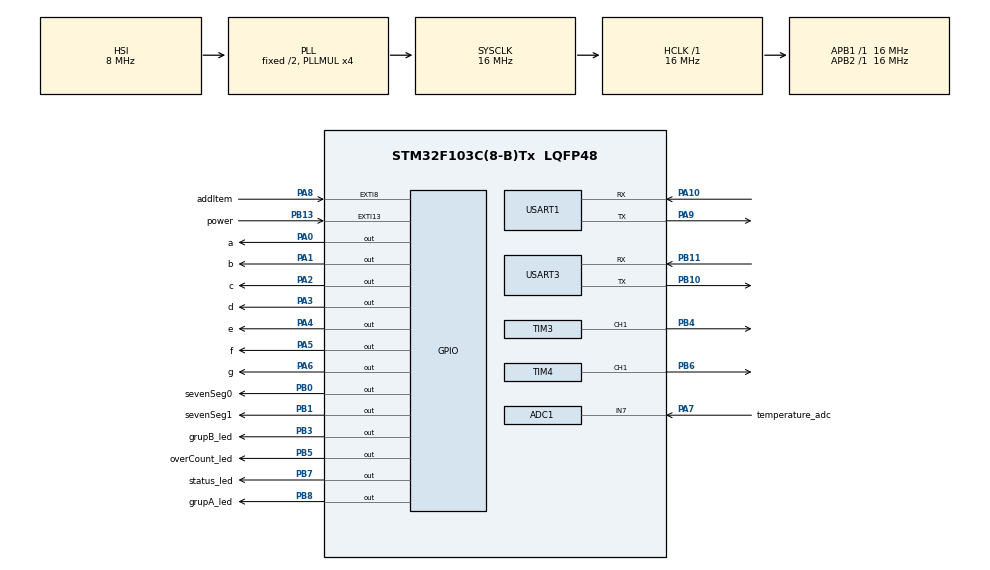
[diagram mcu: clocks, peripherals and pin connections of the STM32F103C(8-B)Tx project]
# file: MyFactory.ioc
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ADC1.Channel-0\#ChannelRegularConversion=ADC_CHANNEL_7
ADC1.ContinuousConvMode=DISABLE
ADC1.DataAlign=ADC_DATAALIGN_RIGHT
ADC1.DiscontinuousConvMode=DISABLE
ADC1.EnableAnalogWatchDog=false
ADC1.EnableRegularConversion=ENABLE
ADC1.ExternalTrigConv=ADC_SOFTWARE_START
ADC1.InjNumberOfConversion=0
ADC1.NbrOfConversion=1
ADC1.NbrOfConversionFlag=1
ADC1.Rank-0\#ChannelRegularConversion=1
ADC1.SamplingTime-0\#ChannelRegularConversion=ADC_SAMPLETIME_1CYCLE_5
ADC1.ScanConvMode=ADC_SCAN_DISABLE
ADC1.master=1
Mcu.Family=STM32F1
Mcu.Name=STM32F103C(8-B)Tx
Mcu.Package=LQFP48
NVIC.EXTI15_10_IRQn=true\:0\:0\:false\:false\:true\:true
NVIC.EXTI9_5_IRQn=true\:0\:0\:false\:false\:true\:true
NVIC.PriorityGroup=NVIC_PRIORITYGROUP_4
NVIC.TIM3_IRQn=true\:0\:0\:false\:false\:true\:true
NVIC.TIM4_IRQn=true\:0\:0\:false\:false\:true\:true
NVIC.USART1_IRQn=true\:0\:0\:false\:false\:true\:true
NVIC.USART3_IRQn=true\:0\:0\:false\:false\:true\:true
PA0-WKUP.GPIO_Label=a
PA0-WKUP.Signal=GPIO_Output
PA1.GPIO_Label=b
PA1.Signal=GPIO_Output
PA10.Mode=Asynchronous
PA10.Signal=USART1_RX
PA13.Mode=Serial_Wire
PA13.Signal=SYS_JTMS-SWDIO
PA14.Mode=Serial_Wire
PA14.Signal=SYS_JTCK-SWCLK
PA2.GPIO_Label=c
PA2.Signal=GPIO_Output
PA3.GPIO_Label=d
PA3.Signal=GPIO_Output
PA4.GPIO_Label=e
PA4.Signal=GPIO_Output
PA5.GPIO_Label=f
PA5.Signal=GPIO_Output
PA6.GPIO_Label=g
PA6.Signal=GPIO_Output
PA7.GPIO_Label=temperature_adc
PA7.Signal=ADCx_IN7
PA8.GPIO_Label=addItem
PA8.Signal=GPXTI8
PA9.Mode=Asynchronous
PA9.Signal=USART1_TX
PB0.GPIO_Label=sevenSeg0
PB0.Signal=GPIO_Output
PB1.GPIO_Label=sevenSeg1
PB1.Signal=GPIO_Output
PB10.Mode=Asynchronous
PB10.Signal=USART3_TX
PB11.Mode=Asynchronous
PB11.Signal=USART3_RX
PB13.GPIO_Label=power
PB13.Signal=GPXTI13
PB3.GPIO_Label=grupB_led
PB3.Signal=GPIO_Output
PB4.Signal=S_TIM3_CH1
PB5.GPIO_Label=overCount_led
PB5.Signal=GPIO_Output
PB6.Signal=S_TIM4_CH1
PB7.GPIO_Label=status_led
PB7.Signal=GPIO_Output
PB8.GPIO_Label=grupA_led
PB8.Signal=GPIO_Output
PD0-OSC_IN.Mode=HSE-External-Oscillator
PD0-OSC_IN.Signal=RCC_OSC_IN
PD1-OSC_OUT.Mode=HSE-External-Oscillator
PD1-OSC_OUT.Signal=RCC_OSC_OUT
ProjectManager.HeapSize=0x200
ProjectManager.StackSize=0x400
ProjectManager.TargetToolchain=MDK-ARM V5
RCC.AHBFreq_Value=16000000
RCC.APB1Freq_Value=16000000
RCC.APB1TimFreq_Value=16000000
RCC.APB2Freq_Value=16000000
RCC.APB2TimFreq_Value=16000000
RCC.HCLKFreq_Value=16000000
RCC.PLLMUL=RCC_PLL_MUL4
RCC.SYSCLKFreq_VALUE=16000000
RCC.SYSCLKSource=RCC_SYSCLKSOURCE_PLLCLK
RCC.USBFreq_Value=16000000
SH.ADCx_IN7.0=ADC1_IN7,IN7
SH.S_TIM3_CH1.0=TIM3_CH1,PWM Generation1 CH1
SH.S_TIM4_CH1.0=TIM4_CH1,PWM Generation1 CH1
TIM3.Channel-PWM\ Generation1\ CH1=TIM_CHANNEL_1
TIM3.Period=9999
TIM3.Prescaler=799
TIM4.Channel-PWM\ Generation1\ CH1=TIM_CHANNEL_1
TIM4.Period=9999
TIM4.Prescaler=7999
USART1.VirtualMode=VM_ASYNC
USART3.VirtualMode=VM_ASYNC
VP_TIM3_VS_ClockSourceINT.Mode=Internal
VP_TIM4_VS_ClockSourceINT.Mode=Internal
board=MyFabric

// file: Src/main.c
/**
  ******************************************************************************
  * File Name          : main.c
  * Description        : Main program body
  ******************************************************************************
  ** This notice applies to any and all portions of this file
  * that are not between comment pairs USER CODE BEGIN and
  * USER CODE END. Other portions of this file, whether
  * inserted by the user or by software development tools
  * are owned by their respective copyright owners.
  *
  * COPYRIGHT(c) 2020 STMicroelectronics
  *
  * Redistribution and use in source and binary forms, with or without modification,
  * are permitted provided that the following conditions are met:
  *   1. Redistributions of source code must retain the above copyright notice,
  *      this list of conditions and the following disclaimer.
  *   2. Redistributions in binary form must reproduce the above copyright notice,
  *      this list of conditions and the following disclaimer in the documentation
  *      and/or other materials provided with the distribution.
  *   3. Neither the name of STMicroelectronics nor the names of its contributors
  *      may be used to endorse or promote products derived from this software
  *      without specific prior written permission.
  *
  * THIS SOFTWARE IS PROVIDED BY THE COPYRIGHT HOLDERS AND CONTRIBUTORS "AS IS"
  * AND ANY EXPRESS OR IMPLIED WARRANTIES, INCLUDING, BUT NOT LIMITED TO, THE
  * IMPLIED WARRANTIES OF MERCHANTABILITY AND FITNESS FOR A PARTICULAR PURPOSE ARE
  * DISCLAIMED. IN NO EVENT SHALL THE COPYRIGHT HOLDER OR CONTRIBUTORS BE LIABLE
  * FOR ANY DIRECT, INDIRECT, INCIDENTAL, SPECIAL, EXEMPLARY, OR CONSEQUENTIAL
  * DAMAGES (INCLUDING, BUT NOT LIMITED TO, PROCUREMENT OF SUBSTITUTE GOODS OR
  * SERVICES; LOSS OF USE, DATA, OR PROFITS; OR BUSINESS INTERRUPTION) HOWEVER
  * CAUSED AND ON ANY THEORY OF LIABILITY, WHETHER IN CONTRACT, STRICT LIABILITY,
  * OR TORT (INCLUDING NEGLIGENCE OR OTHERWISE) ARISING IN ANY WAY OUT OF THE USE
  * OF THIS SOFTWARE, EVEN IF ADVISED OF THE POSSIBILITY OF SUCH DAMAGE.
  *
  ******************************************************************************
  */

#include "main.h"
#include "stm32f1xx_hal.h"

ADC_HandleTypeDef hadc1;

TIM_HandleTypeDef htim3;
TIM_HandleTypeDef htim4;

UART_HandleTypeDef huart1;
UART_HandleTypeDef huart3;

/* USER CODE BEGIN PV */
/* Private variables ---------------------------------------------------------*/

/* USER CODE END PV */

void SystemClock_Config(void);
static void MX_GPIO_Init(void);
static void MX_ADC1_Init(void);
static void MX_USART1_UART_Init(void);
static void MX_USART3_UART_Init(void);
static void MX_TIM3_Init(void);
static void MX_TIM4_Init(void);

void HAL_TIM_MspPostInit(TIM_HandleTypeDef *htim);

/* USER CODE BEGIN PFP */
/* Private function prototypes -----------------------------------------------*/
uint8_t convertADC(uint16_t adcValue, uint8_t from_resolution, uint8_t to_resolution);
void display(int s);
void display2D(int s); // 2 digit
void clear(uint8_t* array);
void formatString(uint8_t* array, uint16_t grup1, uint16_t gup2);
void numberToChars(uint8_t* array, uint16_t fromIndex, uint16_t num);
uint16_t length(uint8_t* str);
/* USER CODE END PFP */

/* USER CODE BEGIN 0 */
uint8_t isActive = 0;
uint16_t temperature;
uint16_t grupA = 0;          // hot
uint16_t grupB = 0;					// cold
uint16_t total = 0;
uint16_t additionTime = 0;
/* USER CODE END 0 */

int main(void)
{

  /* MCU Configuration----------------------------------------------------------*/

  /* Reset of all peripherals, Initializes the Flash interface and the Systick. */
  HAL_Init();

  /* Configure the system clock */
  SystemClock_Config();

  /* Initialize all configured peripherals */
  MX_GPIO_Init();
  MX_ADC1_Init();
  MX_USART1_UART_Init();
  MX_USART3_UART_Init();
  MX_TIM3_Init();
  MX_TIM4_Init();

  /* USER CODE BEGIN 2 */
	HAL_TIM_Base_Start_IT(&htim3);
	HAL_TIM_Base_Start_IT(&htim4);

	__HAL_UART_ENABLE_IT(&huart1, UART_IT_RXNE);
	__HAL_UART_ENABLE_IT(&huart3, UART_IT_RXNE);

	HAL_ADC_Start(&hadc1);
  /* USER CODE END 2 */

  /* Infinite loop */
  /* USER CODE BEGIN WHILE */

  while (1)
  {
		// fabrikanin acilip acilmadigina bakar
		if(isActive){
			HAL_GPIO_WritePin(status_led_GPIO_Port, status_led_Pin, GPIO_PIN_SET);
			// toplam urun sayisi kontrol edilir
			display2D(total % 100);

			if(total > 199){
				HAL_GPIO_TogglePin(overCount_led_GPIO_Port, overCount_led_Pin);
				HAL_Delay(50);
			} else if(total > 99){
				HAL_GPIO_WritePin(overCount_led_GPIO_Port, overCount_led_Pin, GPIO_PIN_SET);
			}

		} else {
			HAL_GPIO_WritePin(status_led_GPIO_Port, status_led_Pin, GPIO_PIN_RESET);
			HAL_GPIO_WritePin(grupA_led_GPIO_Port, grupA_led_Pin, GPIO_PIN_RESET);
			HAL_GPIO_WritePin(grupB_led_GPIO_Port, grupB_led_Pin, GPIO_PIN_RESET);
			HAL_GPIO_WritePin(overCount_led_GPIO_Port, overCount_led_Pin, GPIO_PIN_RESET);
			HAL_GPIO_WritePin(sevenSeg0_GPIO_Port, sevenSeg0_Pin, GPIO_PIN_RESET);
			HAL_GPIO_WritePin(sevenSeg1_GPIO_Port, sevenSeg1_Pin, GPIO_PIN_RESET);
		}

  /* USER CODE END WHILE */

  }

}

/** System Clock Configuration
*/
void SystemClock_Config(void)
{

  RCC_OscInitTypeDef RCC_OscInitStruct;
  RCC_ClkInitTypeDef RCC_ClkInitStruct;
  RCC_PeriphCLKInitTypeDef PeriphClkInit;

    /**Initializes the CPU, AHB and APB busses clocks
    */
  RCC_OscInitStruct.OscillatorType = RCC_OSCILLATORTYPE_HSI;
  RCC_OscInitStruct.HSIState = RCC_HSI_ON;
  RCC_OscInitStruct.HSICalibrationValue = 16;
  RCC_OscInitStruct.PLL.PLLState = RCC_PLL_ON;
  RCC_OscInitStruct.PLL.PLLSource = RCC_PLLSOURCE_HSI_DIV2;
  RCC_OscInitStruct.PLL.PLLMUL = RCC_PLL_MUL4;
  if (HAL_RCC_OscConfig(&RCC_OscInitStruct) != HAL_OK)
  {
    _Error_Handler(__FILE__, __LINE__);
  }

    /**Initializes the CPU, AHB and APB busses clocks
    */
  RCC_ClkInitStruct.ClockType = RCC_CLOCKTYPE_HCLK|RCC_CLOCKTYPE_SYSCLK
                              |RCC_CLOCKTYPE_PCLK1|RCC_CLOCKTYPE_PCLK2;
  RCC_ClkInitStruct.SYSCLKSource = RCC_SYSCLKSOURCE_PLLCLK;
  RCC_ClkInitStruct.AHBCLKDivider = RCC_SYSCLK_DIV1;
  RCC_ClkInitStruct.APB1CLKDivider = RCC_HCLK_DIV1;
  RCC_ClkInitStruct.APB2CLKDivider = RCC_HCLK_DIV1;

  if (HAL_RCC_ClockConfig(&RCC_ClkInitStruct, FLASH_LATENCY_0) != HAL_OK)
  {
    _Error_Handler(__FILE__, __LINE__);
  }

  PeriphClkInit.PeriphClockSelection = RCC_PERIPHCLK_ADC;
  PeriphClkInit.AdcClockSelection = RCC_ADCPCLK2_DIV2;
  if (HAL_RCCEx_PeriphCLKConfig(&PeriphClkInit) != HAL_OK)
  {
    _Error_Handler(__FILE__, __LINE__);
  }

    /**Configure the Systick interrupt time
    */
  HAL_SYSTICK_Config(HAL_RCC_GetHCLKFreq()/1000);

    /**Configure the Systick
    */
  HAL_SYSTICK_CLKSourceConfig(SYSTICK_CLKSOURCE_HCLK);

  /* SysTick_IRQn interrupt configuration */
  HAL_NVIC_SetPriority(SysTick_IRQn, 0, 0);
}

/* ADC1 init function */
static void MX_ADC1_Init(void)
{

  ADC_ChannelConfTypeDef sConfig;

    /**Common config
    */
  hadc1.Instance = ADC1;
  hadc1.Init.ScanConvMode = ADC_SCAN_DISABLE;
  hadc1.Init.ContinuousConvMode = DISABLE;
  hadc1.Init.DiscontinuousConvMode = DISABLE;
  hadc1.Init.ExternalTrigConv = ADC_SOFTWARE_START;
  hadc1.Init.DataAlign = ADC_DATAALIGN_RIGHT;
  hadc1.Init.NbrOfConversion = 1;
  if (HAL_ADC_Init(&hadc1) != HAL_OK)
  {
    _Error_Handler(__FILE__, __LINE__);
  }

    /**Configure Regular Channel
    */
  sConfig.Channel = ADC_CHANNEL_7;
  sConfig.Rank = 1;
  sConfig.SamplingTime = ADC_SAMPLETIME_1CYCLE_5;
  if (HAL_ADC_ConfigChannel(&hadc1, &sConfig) != HAL_OK)
  {
    _Error_Handler(__FILE__, __LINE__);
  }

}

/* TIM3 init function */
static void MX_TIM3_Init(void)
{

  TIM_ClockConfigTypeDef sClockSourceConfig;
  TIM_MasterConfigTypeDef sMasterConfig;
  TIM_OC_InitTypeDef sConfigOC;

  htim3.Instance = TIM3;
  htim3.Init.Prescaler = 799;
  htim3.Init.CounterMode = TIM_COUNTERMODE_UP;
  htim3.Init.Period = 9999;
  htim3.Init.ClockDivision = TIM_CLOCKDIVISION_DIV1;
  htim3.Init.AutoReloadPreload = TIM_AUTORELOAD_PRELOAD_DISABLE;
  if (HAL_TIM_Base_Init(&htim3) != HAL_OK)
  {
    _Error_Handler(__FILE__, __LINE__);
  }

  sClockSourceConfig.ClockSource = TIM_CLOCKSOURCE_INTERNAL;
  if (HAL_TIM_ConfigClockSource(&htim3, &sClockSourceConfig) != HAL_OK)
  {
    _Error_Handler(__FILE__, __LINE__);
  }

  if (HAL_TIM_PWM_Init(&htim3) != HAL_OK)
  {
    _Error_Handler(__FILE__, __LINE__);
  }

  sMasterConfig.MasterOutputTrigger = TIM_TRGO_RESET;
  sMasterConfig.MasterSlaveMode = TIM_MASTERSLAVEMODE_DISABLE;
  if (HAL_TIMEx_MasterConfigSynchronization(&htim3, &sMasterConfig) != HAL_OK)
  {
    _Error_Handler(__FILE__, __LINE__);
  }

  sConfigOC.OCMode = TIM_OCMODE_PWM1;
  sConfigOC.Pulse = 0;
  sConfigOC.OCPolarity = TIM_OCPOLARITY_HIGH;
  sConfigOC.OCFastMode = TIM_OCFAST_DISABLE;
  if (HAL_TIM_PWM_ConfigChannel(&htim3, &sConfigOC, TIM_CHANNEL_1) != HAL_OK)
  {
    _Error_Handler(__FILE__, __LINE__);
  }

  HAL_TIM_MspPostInit(&htim3);

}

/* TIM4 init function */
static void MX_TIM4_Init(void)
{

  TIM_ClockConfigTypeDef sClockSourceConfig;
  TIM_MasterConfigTypeDef sMasterConfig;
  TIM_OC_InitTypeDef sConfigOC;

  htim4.Instance = TIM4;
  htim4.Init.Prescaler = 7999;
  htim4.Init.CounterMode = TIM_COUNTERMODE_UP;
  htim4.Init.Period = 9999;
  htim4.Init.ClockDivision = TIM_CLOCKDIVISION_DIV1;
  htim4.Init.AutoReloadPreload = TIM_AUTORELOAD_PRELOAD_DISABLE;
  if (HAL_TIM_Base_Init(&htim4) != HAL_OK)
  {
    _Error_Handler(__FILE__, __LINE__);
  }

  sClockSourceConfig.ClockSource = TIM_CLOCKSOURCE_INTERNAL;
  if (HAL_TIM_ConfigClockSource(&htim4, &sClockSourceConfig) != HAL_OK)
  {
    _Error_Handler(__FILE__, __LINE__);
  }

  if (HAL_TIM_PWM_Init(&htim4) != HAL_OK)
  {
    _Error_Handler(__FILE__, __LINE__);
  }

  sMasterConfig.MasterOutputTrigger = TIM_TRGO_RESET;
  sMasterConfig.MasterSlaveMode = TIM_MASTERSLAVEMODE_DISABLE;
  if (HAL_TIMEx_MasterConfigSynchronization(&htim4, &sMasterConfig) != HAL_OK)
  {
    _Error_Handler(__FILE__, __LINE__);
  }

  sConfigOC.OCMode = TIM_OCMODE_PWM1;
  sConfigOC.Pulse = 0;
  sConfigOC.OCPolarity = TIM_OCPOLARITY_HIGH;
  sConfigOC.OCFastMode = TIM_OCFAST_DISABLE;
  if (HAL_TIM_PWM_ConfigChannel(&htim4, &sConfigOC, TIM_CHANNEL_1) != HAL_OK)
  {
    _Error_Handler(__FILE__, __LINE__);
  }

  HAL_TIM_MspPostInit(&htim4);

}

/* USART1 init function */
static void MX_USART1_UART_Init(void)
{

  huart1.Instance = USART1;
  huart1.Init.BaudRate = 115200;
  huart1.Init.WordLength = UART_WORDLENGTH_8B;
  huart1.Init.StopBits = UART_STOPBITS_1;
  huart1.Init.Parity = UART_PARITY_NONE;
  huart1.Init.Mode = UART_MODE_TX_RX;
  huart1.Init.HwFlowCtl = UART_HWCONTROL_NONE;
  huart1.Init.OverSampling = UART_OVERSAMPLING_16;
  if (HAL_UART_Init(&huart1) != HAL_OK)
  {
    _Error_Handler(__FILE__, __LINE__);
  }

}

/* USART3 init function */
static void MX_USART3_UART_Init(void)
{

  huart3.Instance = USART3;
  huart3.Init.BaudRate = 115200;
  huart3.Init.WordLength = UART_WORDLENGTH_8B;
  huart3.Init.StopBits = UART_STOPBITS_1;
  huart3.Init.Parity = UART_PARITY_NONE;
  huart3.Init.Mode = UART_MODE_TX_RX;
  huart3.Init.HwFlowCtl = UART_HWCONTROL_NONE;
  huart3.Init.OverSampling = UART_OVERSAMPLING_16;
  if (HAL_UART_Init(&huart3) != HAL_OK)
  {
    _Error_Handler(__FILE__, __LINE__);
  }

}

/** Configure pins as
        * Analog
        * Input
        * Output
        * EVENT_OUT
        * EXTI
*/
static void MX_GPIO_Init(void)
{

  GPIO_InitTypeDef GPIO_InitStruct;

  /* GPIO Ports Clock Enable */
  __HAL_RCC_GPIOD_CLK_ENABLE();
  __HAL_RCC_GPIOA_CLK_ENABLE();
  __HAL_RCC_GPIOB_CLK_ENABLE();

  /*Configure GPIO pin Output Level */
  HAL_GPIO_WritePin(GPIOA, a_Pin|b_Pin|c_Pin|d_Pin
                          |e_Pin|f_Pin|g_Pin, GPIO_PIN_RESET);

  /*Configure GPIO pin Output Level */
  HAL_GPIO_WritePin(GPIOB, sevenSeg0_Pin|sevenSeg1_Pin|grupB_led_Pin|overCount_led_Pin
                          |status_led_Pin|grupA_led_Pin, GPIO_PIN_RESET);

  /*Configure GPIO pins : a_Pin b_Pin c_Pin d_Pin
                           e_Pin f_Pin g_Pin */
  GPIO_InitStruct.Pin = a_Pin|b_Pin|c_Pin|d_Pin
                          |e_Pin|f_Pin|g_Pin;
  GPIO_InitStruct.Mode = GPIO_MODE_OUTPUT_PP;
  GPIO_InitStruct.Speed = GPIO_SPEED_FREQ_LOW;
  HAL_GPIO_Init(GPIOA, &GPIO_InitStruct);

  /*Configure GPIO pins : sevenSeg0_Pin sevenSeg1_Pin grupB_led_Pin overCount_led_Pin
                           status_led_Pin grupA_led_Pin */
  GPIO_InitStruct.Pin = sevenSeg0_Pin|sevenSeg1_Pin|grupB_led_Pin|overCount_led_Pin
                          |status_led_Pin|grupA_led_Pin;
  GPIO_InitStruct.Mode = GPIO_MODE_OUTPUT_PP;
  GPIO_InitStruct.Speed = GPIO_SPEED_FREQ_LOW;
  HAL_GPIO_Init(GPIOB, &GPIO_InitStruct);

  /*Configure GPIO pin : power_Pin */
  GPIO_InitStruct.Pin = power_Pin;
  GPIO_InitStruct.Mode = GPIO_MODE_IT_RISING;
  GPIO_InitStruct.Pull = GPIO_NOPULL;
  HAL_GPIO_Init(power_GPIO_Port, &GPIO_InitStruct);

  /*Configure GPIO pin : addItem_Pin */
  GPIO_InitStruct.Pin = addItem_Pin;
  GPIO_InitStruct.Mode = GPIO_MODE_IT_RISING;
  GPIO_InitStruct.Pull = GPIO_NOPULL;
  HAL_GPIO_Init(addItem_GPIO_Port, &GPIO_InitStruct);

  /* EXTI interrupt init*/
  HAL_NVIC_SetPriority(EXTI9_5_IRQn, 0, 0);
  HAL_NVIC_EnableIRQ(EXTI9_5_IRQn);

  HAL_NVIC_SetPriority(EXTI15_10_IRQn, 0, 0);
  HAL_NVIC_EnableIRQ(EXTI15_10_IRQn);

}

/* USER CODE BEGIN 4 */
uint8_t convertADC(uint16_t adcValue, uint8_t from_resolution, uint8_t to_resolution){
	return ((1<< to_resolution) - 1) * adcValue / ((1 << from_resolution) - 1);
}

void display(int s){
	switch(s){
		case 0:
			GPIOA->ODR = 0x003F; //Displaying 0
			break;
		case 1:
			GPIOA->ODR = 0x0006; //Displaying 1
			break;
		case 2:
			GPIOA->ODR = 0x005B; //Displaying 2
			break;
		case 3:
			GPIOA->ODR = 0x004F; //Displaying 3
			break;
		case 4:
			GPIOA->ODR = 0x0066; //Displaying 4
			break;
		case 5:
			GPIOA->ODR = 0x006D; //Displaying 5
			break;
		case 6:
			GPIOA->ODR = 0x007D; //Displaying 6
			break;
		case 7:
			GPIOA->ODR = 0x0007; //Displaying 7
			break;
		case 8:
			GPIOA->ODR = 0x007F; //Displaying 8
			break;
		case 9:
			GPIOA->ODR = 0x006F; //Displaying 9
			break;
		case 10:
			GPIOA->ODR = 0x0077; //Displaying A
			break;
		case 11:
			GPIOA->ODR = 0x007C; //Displaying B
			break;
		case 12:
			GPIOA->ODR = 0x0039; //Displaying C
			break;
		case 13:
			GPIOA->ODR = 0x005E; //Displaying D
			break;
		case 14:
			GPIOA->ODR = 0x0079; //Displaying E
			break;
		default:
			GPIOA->ODR = 0x0071; //Displaying F
			break;
	}

}

// 2 digit
void display2D(int s){

	if(s <= 9){
		HAL_GPIO_WritePin(GPIOB, GPIO_PIN_0, GPIO_PIN_RESET);
		HAL_GPIO_WritePin(GPIOB, GPIO_PIN_1, GPIO_PIN_SET);
		display(s);
		HAL_Delay(10);

		//HAL_GPIO_WritePin(GPIOB, GPIO_PIN_0, GPIO_PIN_RESET);
		HAL_GPIO_WritePin(GPIOB, GPIO_PIN_1, GPIO_PIN_RESET);

	} else{

		HAL_GPIO_WritePin(GPIOB, GPIO_PIN_0, GPIO_PIN_RESET);
		HAL_GPIO_WritePin(GPIOB, GPIO_PIN_1, GPIO_PIN_SET);
		display(s % 10);
		HAL_Delay(10);

		HAL_GPIO_WritePin(GPIOB, GPIO_PIN_0, GPIO_PIN_SET);
		HAL_GPIO_WritePin(GPIOB, GPIO_PIN_1, GPIO_PIN_RESET);
		display(s / 10);
		HAL_Delay(10);

		HAL_GPIO_WritePin(GPIOB, GPIO_PIN_0, GPIO_PIN_RESET);
		//HAL_GPIO_WritePin(GPIOB, GPIO_PIN_1, GPIO_PIN_RESET);

	}

}

void clear(uint8_t* array){
	uint16_t i = 0;
	while(i < 30){
		array[i] = '\0';
		i++;
	}
}

void numberToChars(uint8_t* array, uint16_t fromIndex, uint16_t num) {
	int j = 1;
	int temp = num;
	while (j <= 3) {
		array[fromIndex + (3 - j)] = (temp % 10) + '0';
		temp /= 10;
		j++;
	}
}

void formatString(uint8_t* array, uint16_t grup1, uint16_t grup2) {
	int i = 0;
	int grp = 1;
	while (*(array + i) != '\0') {
		if (array[i] == ':' && grp == 1) {
			numberToChars(array, ++i, grup1);
			grp++;

			} else if (array[i] == ':' && grp == 2) {
			numberToChars(array, ++i, grup2);
			grp++;

				} else if (array[i] == ':' && grp == 3) {
			numberToChars(array, ++i, grup1 + grup2);

		}
		i++;
	}
}

uint16_t length(uint8_t* str){
	uint16_t i = 0;
	while(*(str + i) != '\0'){
		i++;
	}
	return i;
}

/* USER CODE END 4 */

void _Error_Handler(char * file, int line)
{
  while(1)
  {
  }
}

/************************ (C) COPYRIGHT STMicroelectronics *****END OF FILE****/
